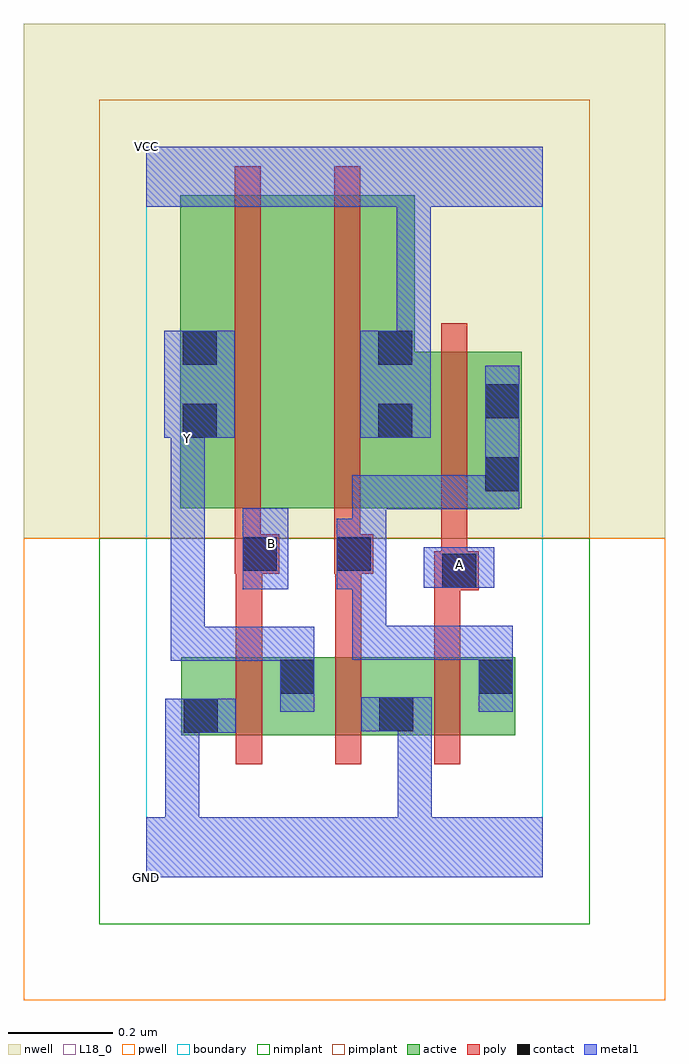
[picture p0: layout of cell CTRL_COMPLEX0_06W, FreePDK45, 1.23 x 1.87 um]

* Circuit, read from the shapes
.subckt CTRL_COMPLEX0_06W A B GND VCC Y
M1 Y B GND VSUBS nfet w=0.15u l=0.05u
M2 GND n1 Y VSUBS nfet w=0.15u l=0.05u
M3 n1 A GND VSUBS nfet w=0.15u l=0.05u
M4 n2 B Y n3 pfet w=0.6u l=0.05u
M5 VCC n1 n2 n3 pfet w=0.6u l=0.05u
M6 n1 A VCC n3 pfet w=0.3u l=0.05u
.ends

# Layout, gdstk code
import gdstk
lib = gdstk.Library(unit=1e-6, precision=1e-09)
def R(c, l, rs):  # rectangles x0, y0, x1, y1
    for r in rs: c.add(gdstk.rectangle(r[:2], r[2:], *l))
def A(c, l, x, y, w, h, nx, ny, dx, dy):  # array of equal rectangles
    R(c, l, [(x+i*dx, y+j*dy, x+i*dx+w, y+j*dy+h) for i in range(nx) for j in range(ny)])
active = (1, 0)
pwell = (2, 0)
nwell = (3, 0)
nimplant = (4, 0)
pimplant = (5, 0)
poly = (9, 0)
contact = (10, 0)
metal1 = (11, 0)
L18_0 = (18, 0)
boundary = (235, 0)

ctrl_complex0_06w = lib.new_cell('CTRL_COMPLEX0_06W')
R(ctrl_complex0_06w, active, [(0.067,0.272,0.142,0.422), (0.067,0.272,0.327,0.422), (0.252,0.272,0.327,0.422), (0.252,0.272,0.517,0.422), (0.442,0.272,0.707,0.422), (0.442,0.272,0.517,0.35), (0.632,0.272,0.707,0.422), (0.065,0.707,0.29,1.307), (0.065,0.707,0.17,1.2), (0.29,0.707,0.515,1.307), (0.44,0.707,0.72,1.007), (0.44,0.707,0.515,1.307), (0.645,0.707,0.72,1.005)])
R(ctrl_complex0_06w, pwell, [(-0.235,-0.235,0.995,0.65)])
R(ctrl_complex0_06w, nwell, [(-0.235,0.65,0.995,1.635)])
R(ctrl_complex0_06w, nimplant, [(-0.09,-0.09,0.85,0.65)])
R(ctrl_complex0_06w, pimplant, [(-0.09,0.65,0.85,1.49)])
A(ctrl_complex0_06w, poly, 0.172, 0.217, 0.05, 0.26, 3, 1, 0.19, 0)
R(ctrl_complex0_06w, poly, [(0.172,0.427,0.222,0.632), (0.362,0.427,0.412,0.632), (0.552,0.427,0.602,0.6), (0.552,0.55,0.637,0.625), (0.565,0.575,0.615,0.702), (0.17,0.582,0.255,0.657), (0.36,0.582,0.435,0.657), (0.17,0.607,0.22,0.702), (0.36,0.607,0.41,0.702), (0.17,0.652,0.22,1.362), (0.36,0.652,0.41,1.362), (0.565,0.652,0.615,1.062)])
R(ctrl_complex0_06w, contact, [(0.072,0.277,0.137,0.342), (0.447,0.28,0.512,0.345), (0.257,0.352,0.322,0.417), (0.637,0.352,0.702,0.417), (0.567,0.555,0.632,0.62), (0.185,0.587,0.25,0.652), (0.365,0.587,0.43,0.652), (0.65,0.74,0.715,0.805), (0.07,0.842,0.135,0.907), (0.445,0.842,0.51,0.907), (0.65,0.88,0.715,0.945), (0.07,0.982,0.135,1.047), (0.445,0.982,0.51,1.047)])
R(ctrl_complex0_06w, metal1, [(0,0,0.76,0.115), (0.037,0.05,0.102,0.342), (0.482,0.05,0.547,0.115), (0.482,0.05,0.547,0.115), (0.482,0.05,0.547,0.115), (0.482,0.05,0.547,0.115), (0.482,0.05,0.547,0.115), (0.482,0.05,0.547,0.115), (0.482,0.05,0.547,0.345), (0.037,0.277,0.102,0.342), (0.037,0.277,0.102,0.342), (0.037,0.277,0.102,0.342), (0.037,0.277,0.102,0.342), (0.037,0.277,0.102,0.342), (0.037,0.277,0.102,0.342), (0.037,0.277,0.172,0.342), (0.412,0.28,0.547,0.345), (0.257,0.317,0.322,0.48), (0.637,0.317,0.702,0.452), (0.637,0.387,0.702,0.452), (0.637,0.387,0.702,0.482), (0.047,0.415,0.112,0.48), (0.047,0.415,0.292,0.48), (0.047,0.415,0.112,0.837), (0.227,0.415,0.292,0.48), (0.227,0.415,0.322,0.48), (0.395,0.417,0.46,0.482), (0.395,0.417,0.702,0.482), (0.395,0.417,0.46,0.687), (0.185,0.552,0.272,0.707), (0.365,0.552,0.43,0.687), (0.532,0.555,0.667,0.632), (0.365,0.622,0.46,0.687), (0.395,0.622,0.46,0.687), (0.395,0.622,0.46,0.77), (0.395,0.705,0.46,0.77), (0.395,0.705,0.715,0.77), (0.65,0.705,0.715,0.77), (0.65,0.705,0.715,0.77), (0.65,0.705,0.715,0.98), (0.047,0.772,0.112,0.907), (0.035,0.842,0.17,1.047), (0.047,0.842,0.112,0.907), (0.41,0.842,0.545,1.047), (0.48,0.982,0.545,1.35), (0,1.285,0.76,1.4)])
R(ctrl_complex0_06w, L18_0, [(0,0,0.76,0.115), (0.037,0.05,0.102,0.342), (0.482,0.05,0.547,0.115), (0.482,0.05,0.547,0.115), (0.482,0.05,0.547,0.115), (0.482,0.05,0.547,0.115), (0.482,0.05,0.547,0.115), (0.482,0.05,0.547,0.115), (0.482,0.05,0.547,0.345), (0.037,0.277,0.102,0.342), (0.037,0.277,0.102,0.342), (0.037,0.277,0.102,0.342), (0.037,0.277,0.102,0.342), (0.037,0.277,0.102,0.342), (0.037,0.277,0.102,0.342), (0.037,0.277,0.172,0.342), (0.412,0.28,0.547,0.345), (0.257,0.317,0.322,0.48), (0.047,0.415,0.112,0.48), (0.047,0.415,0.112,0.837), (0.047,0.415,0.292,0.48), (0.227,0.415,0.292,0.48), (0.227,0.415,0.322,0.48), (0.185,0.552,0.272,0.707), (0.532,0.555,0.667,0.632), (0.567,0.567,0.632,0.632), (0.207,0.607,0.272,0.672), (0.047,0.772,0.112,0.907), (0.047,0.807,0.112,0.872), (0.035,0.842,0.17,1.047), (0.047,0.842,0.112,0.907), (0.41,0.842,0.545,1.047), (0.48,0.982,0.545,1.35), (0,1.285,0.76,1.4)])
R(ctrl_complex0_06w, boundary, [(0,0,0.76,1.4)])
ctrl_complex0_06w.add(gdstk.Label('A', (0.6,0.6), layer=11, texttype=0))
ctrl_complex0_06w.add(gdstk.Label('B', (0.24,0.64), layer=11, texttype=0))
ctrl_complex0_06w.add(gdstk.Label('Y', (0.08,0.84), layer=11, texttype=0))
ctrl_complex0_06w.add(gdstk.Label('VCC', (0,1.4), layer=11, texttype=0))
ctrl_complex0_06w.add(gdstk.Label('GND', (0,0), layer=11, texttype=0))

lib.write_gds('CTRL_COMPLEX0_06W.gds')
